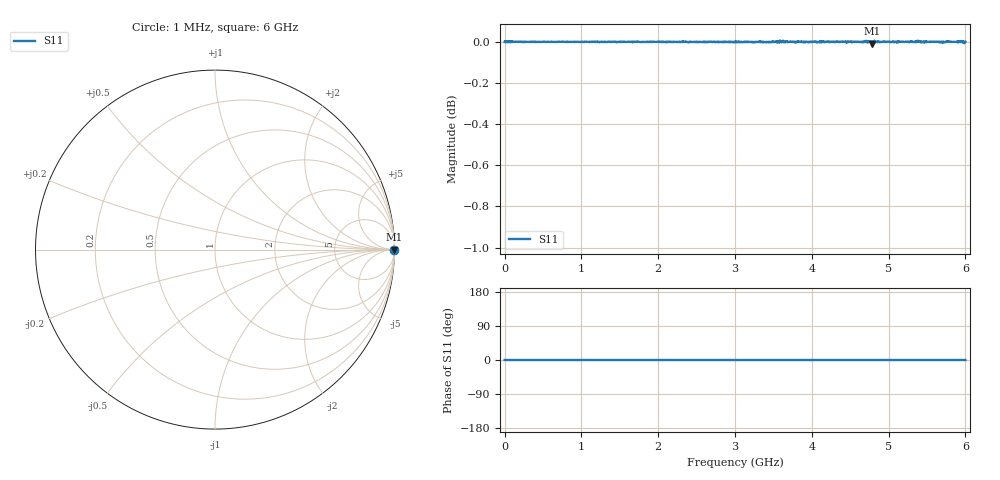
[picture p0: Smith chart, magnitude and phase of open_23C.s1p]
! COPPER MOUNTAIN TECHNOLOGIES, R60, 23103002, 24.3.3/3.0
! Date: 23/10/2026 13:58:11
! Data: Format [Calibration Info]
! Frequency		S11: Re/Im RO
# HZ S RI R 50
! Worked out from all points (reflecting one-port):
!   1280 points, 1 MHz to 6 GHz, reference 50 ohm
!   lowest |S11| = 0.0 dB at 4.785 GHz (marker M1)
!   phase of S11 starts at 0 deg and turns -0 deg over the sweep
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1000000  1 7.95e-05
7.55e8  1 -6.98e-05
1.505e9  1 8.76e-05
2.255e9  1 9.46e-05
3.005e9  0.9998 0.000295
3.325e9  1 -3.76e-05
3.43e9  0.9999 6.34e-05
3.51e9  1 3.5e-05
3.55e9  0.9996 0.000436
3.615e9  1 8.68e-05
3.66e9  0.9999 0.00028
3.725e9  0.9999 5.31e-05
3.755e9  1 7.26e-06
3.82e9  0.9999 0.00014
4.09e9  0.9999 9.4e-06
4.165e9  1 7.07e-05
4.505e9  1 0.000276
4.7e9  1 0.000153
4.785e9  0.999 -0.000242
4.85e9  1 0.000207
5.255e9  1 0.000216
5.38e9  1 -0.000199
5.445e9  0.9998 -0.000141
5.62e9  1 3.52e-05
5.715e9  1 0.000384
5.775e9  1 -4.11e-05
5.94e9  1 0.000232
6e9  1 -0.000352
